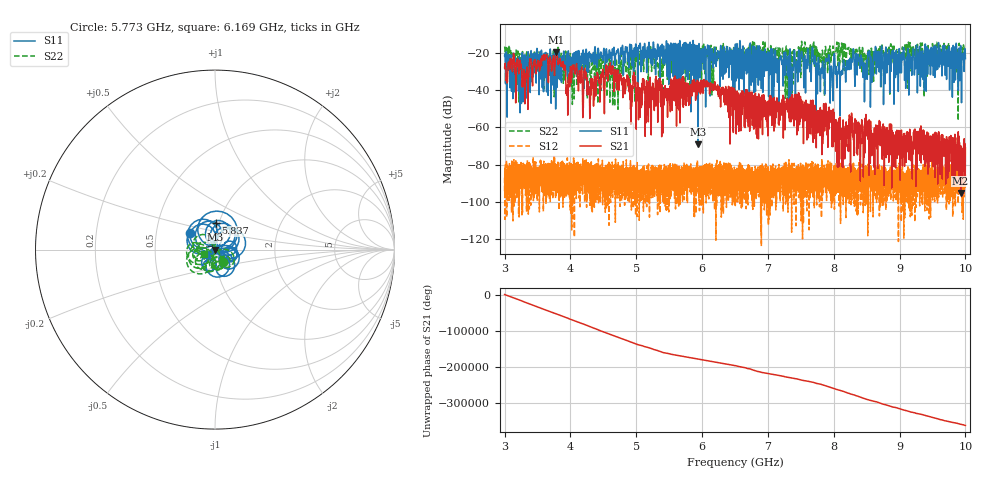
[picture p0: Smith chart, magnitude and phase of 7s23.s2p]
!Agilent Technologies,E8363B,MY43030572,A.06.04.32
!Agilent E8363B: A.06.04.32
!Date: Tuesday, June 07, 2011 08:40:49
!Correction: S11(Full 2 Port(1,2)) S21(Full 2 Port(1,2)) S12(Full 2 Port(1,2)) S22(Full 2 Port(1,2))
!S2P File: Measurements: S11, S21, S12, S22:
# Hz S  dB  R 50
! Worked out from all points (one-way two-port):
!   6401 points, 3 GHz to 10 GHz, reference 50 ohm
!   highest |S21| = -19.71 dB at 3.784 GHz (marker M1); lowest = -95.1 dB at 9.928 GHz (marker M2)
!   lowest |S11| = -68.9 dB at 5.941 GHz (marker M3), VSWR 1.00, Z = 50 - j0.019 ohm
!   |S11| at or under -10 dB: start of sweep to end of sweep
!   |S22| runs from -56.3 to -13.7 dB; largest |S21 - S12| = 0.1
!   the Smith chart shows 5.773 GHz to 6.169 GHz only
!   S11 on the Smith chart (normalised r, x): 5.773 GHz: 0.74, +0.15; 5.837 GHz: 0.96, +0.29; 6.169 GHz: 0.91, -0.06
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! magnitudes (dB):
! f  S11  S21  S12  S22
! 3 GHz  -21.5  -27.8  -86.8  -16.6
! 3.335 GHz  -22.2  -28.2  -79.7  -19.6
! 3.784 GHz  -23.6  -19.7  -83.3  -22.3
! 3.959 GHz  -23.4  -53.4  -87.3  -35.6
! 4.062 GHz  -21.6  -30.7  -95.8  -28.9
! 4.167 GHz  -21.3  -28.4  -87.5  -25.4
! 4.286 GHz  -19.4  -40.5  -80.8  -24.4
! 4.614 GHz  -19.8  -29.4  -88.0  -24.2
! 5.027 GHz  -39.1  -41.0  -90.4  -25.5
! 5.334 GHz  -19.4  -40.5  -92.0  -26.7
! 5.773 GHz  -15.4  -40.3  -82.9  -21.6
! 5.837 GHz  -16.5  -37.9  -96.3  -26.9
! 5.941 GHz  -68.9  -36.5  -90.1  -28.7
! 6.169 GHz  -24.8  -38.2  -82.2  -23.8
! 6.5 GHz  -18.7  -41.1  -89.8  -22.6
! 7.667 GHz  -19.3  -59.7  -83.8  -17.0
! 7.904 GHz  -23.6  -54.3  -89.0  -28.8
! 7.967 GHz  -27.6  -52.7  -83.2  -20.3
! 8.042 GHz  -32.3  -58.0  -92.9  -15.4
! 8.834 GHz  -19.1  -68.8  -96.8  -20.9
! 9.928 GHz  -16.0  -95.1  -82.2  -21.8
! 10 GHz  -23.1  -71.0  -88.9  -21.1
